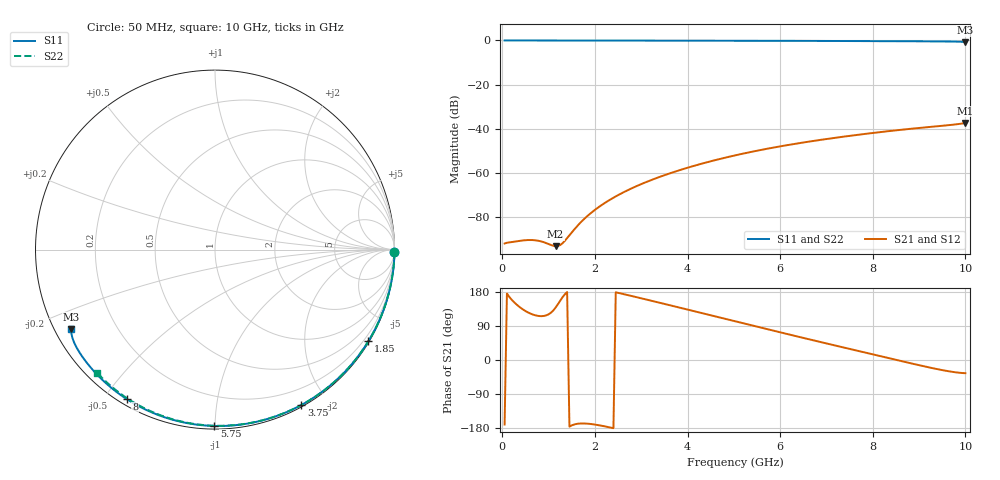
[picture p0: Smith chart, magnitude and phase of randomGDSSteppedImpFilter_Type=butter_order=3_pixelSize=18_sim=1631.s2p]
! freq	dB(S11)	phase(S11)	dB(S12)	phase(S12)
!  dB(S21)	phase(S21)	dB(S22)	phase(S22)
!S-par simulation data
#  GHz  S  DB  R 50
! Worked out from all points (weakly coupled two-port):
!   200 points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, 50 MHz to 10 GHz, reference 50 ohm
!   highest |S21| = -37.44 dB at 10 GHz (marker M1); lowest = -93.4 dB at 1.15 GHz (marker M2)
!   lowest |S11| = -0.8 dB at 10 GHz (marker M3), VSWR 22.76, Z = 2.34 - j12.9 ohm
!   |S11| at or under -10 dB: nowhere
!   |S22| runs from -0.4 to 0.0 dB; largest |S21 - S12| = 0
!   S11 on the Smith chart (normalised r, x): 50 MHz: open; 1.85 GHz: 0.03, -3.62; 3.75 GHz: 0.02, -1.70; 5.75 GHz: 0.02, -1.00; 8 GHz: 0.02, -0.57; 10 GHz: 0.05, -0.26
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0.05  -0.00 -0.8  -92.15 -170.2  -92.15 -170.2  -0.00 -0.8
0.6  -0.01 -10.2  -90.56 122.9  -90.56 122.9  -0.01 -9.2
1.15  -0.02 -19.4  -93.36 138.1  -93.36 138.1  -0.02 -17.6
1.75  -0.04 -29.3  -81.38 -167.4  -81.38 -167.4  -0.03 -26.6
1.8  -0.04 -30.1  -80.39 -167.6  -80.39 -167.6  -0.03 -27.4
1.85  -0.04 -30.9  -79.45 -168.1  -79.45 -168.1  -0.04 -28.1
2.15  -0.05 -35.8  -74.64 -173.6  -74.64 -173.6  -0.04 -32.6
2.5  -0.05 -41.4  -70.20 177.3  -70.20 177.3  -0.05 -37.7
2.9  -0.06 -47.8  -66.11 165.8  -66.11 165.8  -0.06 -43.5
3.4  -0.07 -55.6  -61.91 151.0  -61.91 151.0  -0.07 -50.7
3.75  -0.08 -61.0  -59.40 140.6  -59.40 140.6  -0.08 -55.6
4.35  -0.10 -70.0  -55.67 122.6  -55.67 122.6  -0.09 -63.9
5.05  -0.12 -80.2  -52.04 101.6  -52.04 101.6  -0.11 -73.3
5.75  -0.15 -90.2  -49.02 80.5  -49.02 80.5  -0.14 -82.4
6.7  -0.20 -103.3  -45.66 52.4  -45.66 52.4  -0.18 -94.4
7.35  -0.24 -112.0  -43.72 33.6  -43.72 33.6  -0.22 -102.4
8  -0.29 -120.6  -41.99 14.9  -41.99 14.9  -0.26 -110.2
8.35  -0.32 -125.3  -41.14 4.8  -41.14 4.8  -0.29 -114.4
8.95  -0.38 -133.3  -39.82 -12.3  -39.82 -12.3  -0.34 -121.4
9.5  -0.45 -141.1  -38.73 -26.7  -38.73 -26.7  -0.39 -127.8
9.8  -0.52 -146.1  -38.07 -32.7  -38.07 -32.7  -0.43 -131.3
10  -0.76 -151.1  -37.44 -34.9  -37.44 -34.9  -0.45 -133.6
